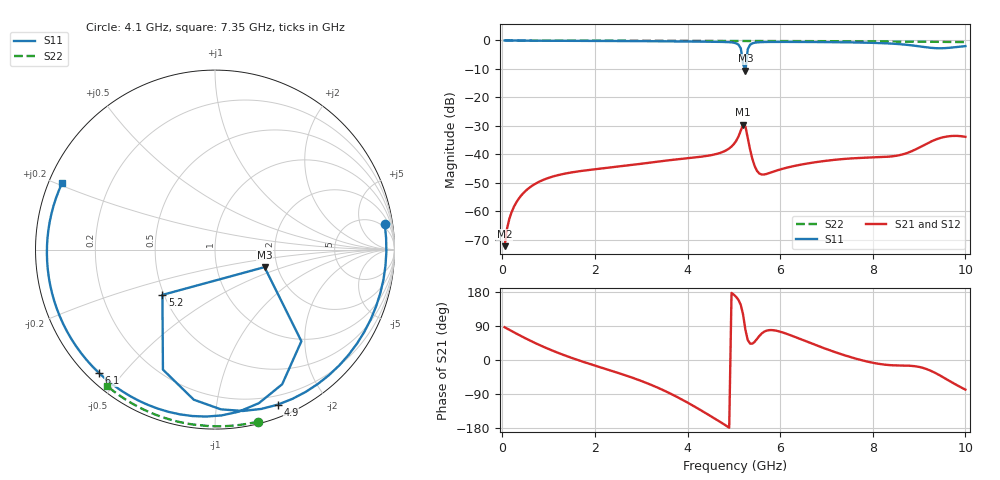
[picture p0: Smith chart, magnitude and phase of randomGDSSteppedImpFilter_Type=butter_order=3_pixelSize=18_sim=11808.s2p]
! freq	dB(S11)	phase(S11)	dB(S12)	phase(S12)
!  dB(S21)	phase(S21)	dB(S22)	phase(S22)
!S-par simulation data
#  GHz  S  DB  R 50
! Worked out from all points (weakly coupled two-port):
!   200 points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, 50 MHz to 10 GHz, reference 50 ohm
!   highest |S21| = -29.57 dB at 5.2 GHz (marker M1); lowest = -72.3 dB at 50 MHz (marker M2)
!   lowest |S11| = -10.7 dB at 5.25 GHz (marker M3), VSWR 1.83, Z = 85.6 - j18.3 ohm
!   |S11| at or under -10 dB: 5.236097 GHz to 5.254429 GHz (18.33 MHz wide, 0.349 % of centre)
!   |S22| runs from -0.6 to 0.0 dB; largest |S21 - S12| = 0
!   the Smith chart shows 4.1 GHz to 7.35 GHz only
!   S11 on the Smith chart (normalised r, x): 4.1 GHz: 4, +12; 4.9 GHz: 0.11, -1.48; 5.2 GHz: 0.49, -0.29; 6.1 GHz: 0.03, -0.43; 7.35 GHz: 0.04, +0.21
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0.05  -0.00 -5.8  -72.29 86.5  -72.29 86.5  -0.00 -1.0
0.3  -0.05 -34.2  -56.98 69.9  -56.98 69.9  -0.01 -5.9
0.8  -0.10 -86.0  -49.61 39.7  -49.61 39.7  -0.02 -15.5
1.75  -0.15 -163.9  -45.76 -4.9  -45.76 -4.9  -0.04 -33.6
2.5  -0.20 142.7  -44.34 -34.0  -44.34 -34.0  -0.06 -47.5
3.4  -0.29 72.1  -42.49 -75.4  -42.49 -75.4  -0.08 -63.7
4.1  -0.39 8.6  -41.21 -119.3  -41.21 -119.3  -0.11 -75.8
4.9  -0.61 -68.0  -37.94 -178.6  -37.94 -178.6  -0.14 -89.3
5.05  -1.01 -87.9  -35.29 166.5  -35.29 166.5  -0.14 -91.8
5.15  -2.75 -113.4  -31.72 145.4  -31.72 145.4  -0.15 -93.4
5.2  -8.25 -139.3  -29.57 119.6  -29.57 119.6  -0.16 -94.3
5.25  -10.67 -19.5  -30.19 79.5  -30.19 79.5  -0.16 -95.0
5.3  -3.08 -46.7  -34.18 52.7  -34.18 52.7  -0.16 -95.8
5.45  -0.79 -81.7  -44.16 48.1  -44.16 48.1  -0.16 -98.3
6.1  -0.50 -133.3  -44.89 70.8  -44.89 70.8  -0.19 -108.8
6.7  -0.54 -167.8  -42.94 42.6  -42.94 42.6  -0.23 -118.3
7.35  -0.64 156.4  -41.68 14.1  -41.68 14.1  -0.28 -128.5
8.35  -1.06 88.2  -40.84 -13.3  -40.84 -13.3  -0.37 -144.2
8.75  -1.55 45.6  -39.51 -14.9  -39.51 -14.9  -0.41 -150.5
9.1  -2.28 -8.4  -36.81 -21.3  -36.81 -21.3  -0.45 -156.2
9.5  -2.74 -88.6  -34.08 -44.2  -34.08 -44.2  -0.50 -162.8
10  -1.98 -172.8  -33.87 -78.1  -33.87 -78.1  -0.56 -171.2
